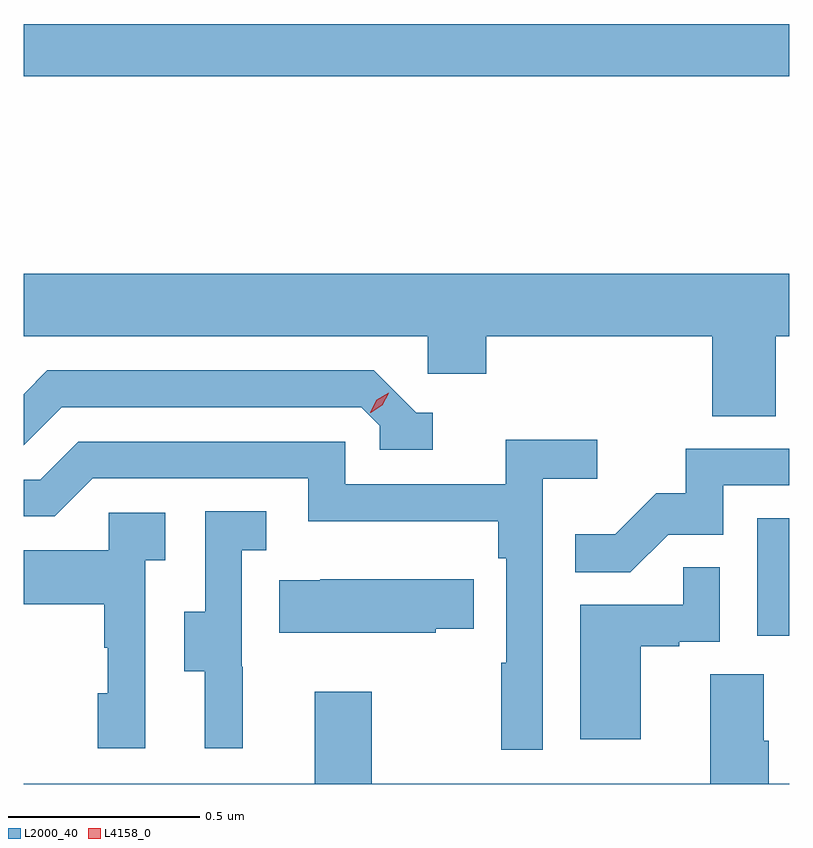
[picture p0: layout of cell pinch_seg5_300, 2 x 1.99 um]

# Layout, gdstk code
import gdstk
lib = gdstk.Library(unit=1e-6, precision=1e-09)
def R(c, l, rs):  # rectangles x0, y0, x1, y1
    for r in rs: c.add(gdstk.rectangle(r[:2], r[2:], *l))
def P(c, l, *ps):  # polygons
    for p in ps: c.add(gdstk.Polygon(p, *l))
L2000_40 = (2000, 40)
L4158_0 = (4158, 0)

pinch_seg5_300 = lib.new_cell('pinch_seg5_300')
R(pinch_seg5_300, L2000_40, [(894.188,891.942,894.272,892.249), (892.272,893.404,894.272,893.54)])
P(pinch_seg5_300, L2000_40, [(894.236,892.724),(894.272,892.724),(894.272,892.888),(892.272,892.888),(892.272,892.724),(893.328,892.724),(893.328,892.626),(893.48,892.626),(893.48,892.724),(894.071,892.724),(894.071,892.516),(894.236,892.516)],
  [(893.341,892.524),(893.298,892.524),(893.187,892.635),(892.334,892.635),(892.272,892.573),(892.272,892.44),(892.371,892.539),(893.154,892.539),(893.202,892.491),(893.202,892.428),(893.341,892.428)],
  [(893.628,892.352),(893.77,892.352),(893.77,892.454),(893.531,892.454),(893.531,892.338),(893.112,892.338),(893.112,892.449),(892.415,892.449),(892.316,892.35),(892.272,892.35),(892.272,892.254),(892.353,892.254),(892.452,892.353),(893.016,892.353),(893.016,892.241),(893.512,892.241),(893.512,892.145),(893.532,892.145),(893.532,891.872),(893.52,891.872),(893.52,891.645),(893.628,891.645)],
  [(893.955,892.206),(894.099,892.206),(894.099,892.335),(894.272,892.335),(894.272,892.431),(894.001,892.431),(894.001,892.314),(893.924,892.314),(893.817,892.207),(893.713,892.207),(893.713,892.108),(893.857,892.108)],
  [(892.844,891.861),(892.842,891.861),(892.842,892.165),(892.906,892.165),(892.906,892.268),(892.746,892.268),(892.746,892.005),(892.691,892.005),(892.691,891.85),(892.745,891.85),(892.745,891.648),(892.844,891.648)],
  [(892.59,892.139),(892.642,892.139),(892.642,892.263),(892.494,892.263),(892.494,892.165),(892.272,892.165),(892.272,892.025),(892.482,892.025),(892.482,891.911),(892.492,891.911),(892.492,891.792),(892.466,891.792),(892.466,891.648),(892.59,891.648)],
  [(893.884,891.915),(893.984,891.915),(893.984,891.927),(894.09,891.927),(894.09,892.121),(893.995,892.121),(893.995,892.023),(893.726,892.023),(893.726,891.672),(893.884,891.672)],
  [(893.349,891.961),(893.447,891.961),(893.447,892.09),(893.047,892.09),(893.047,892.087),(892.939,892.087),(892.939,891.95),(893.349,891.95)],
  [(894.272,891.556),(894.218,891.556),(894.218,891.668),(894.205,891.668),(894.205,891.842),(894.065,891.842),(894.065,891.556),(893.181,891.556),(893.181,891.796),(893.033,891.796),(893.033,891.556),(892.272,891.556),(892.272,891.555),(894.272,891.555)])
P(pinch_seg5_300, L4158_0, [(893.177,892.525),(893.177,892.526),(893.194,892.558),(893.225,892.577),(893.226,892.577),(893.226,892.576),(893.209,892.544),(893.178,892.525)])

lib.write_gds('pinch_seg5_300.gds')
